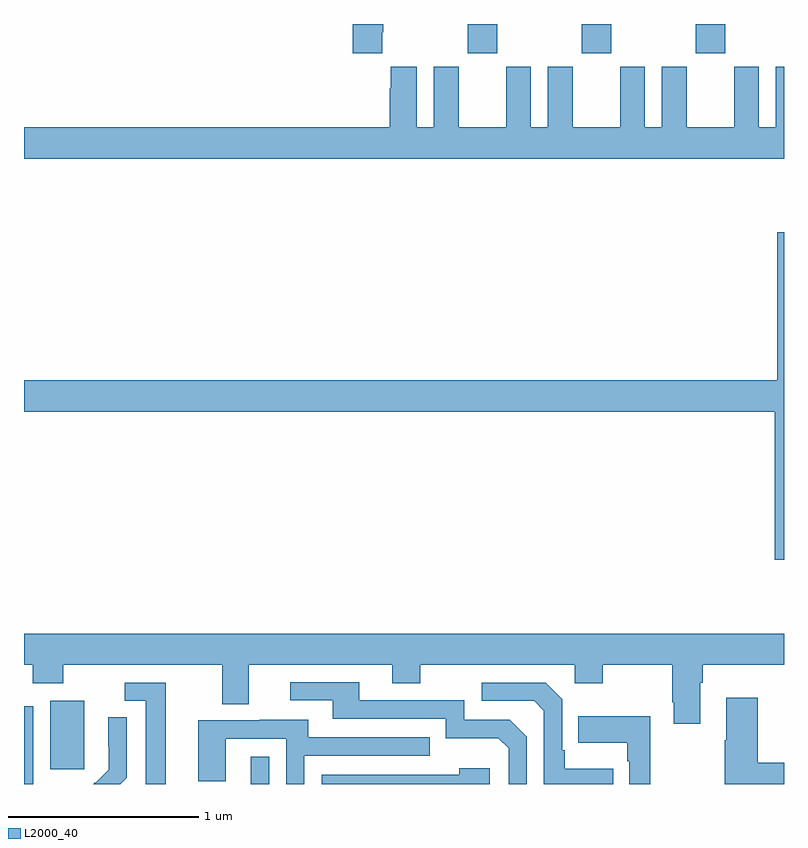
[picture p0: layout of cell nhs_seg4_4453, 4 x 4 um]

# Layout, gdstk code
import gdstk
lib = gdstk.Library(unit=1e-6, precision=1e-09)
def R(c, l, rs):  # rectangles x0, y0, x1, y1
    for r in rs: c.add(gdstk.rectangle(r[:2], r[2:], *l))
def A(c, l, x, y, w, h, nx, ny, dx, dy):  # array of equal rectangles
    R(c, l, [(x+i*dx, y+j*dy, x+i*dx+w, y+j*dy+h) for i in range(nx) for j in range(ny)])
def P(c, l, *ps):  # polygons
    for p in ps: c.add(gdstk.Polygon(p, *l))
L2000_40 = (2000, 40)

nhs_seg4_4453 = lib.new_cell('nhs_seg4_4453')
A(nhs_seg4_4453, L2000_40, 353.335, 758.745, 0.155, 0.155, 3, 1, 0.6, 0)
R(nhs_seg4_4453, L2000_40, [(351,754.9,351.048,755.31), (352.193,754.9,352.29,755.044), (351.137,754.977,351.316,755.338)])
P(nhs_seg4_4453, L2000_40, [(352.885,758.857),(352.89,758.857),(352.89,758.9),(352.73,758.9),(352.73,758.745),(352.885,758.745)],
  [(355,758.674),(354.956,758.674),(354.956,758.356),(354.868,758.356),(354.868,758.674),(354.737,758.674),(354.737,758.356),(354.487,758.356),(354.487,758.674),(354.356,758.674),(354.356,758.356),(354.268,758.356),(354.268,758.674),(354.137,758.674),(354.137,758.356),(353.887,758.356),(353.887,758.674),(353.756,758.674),(353.756,758.356),(353.668,758.356),(353.668,758.674),(353.537,758.674),(353.537,758.356),(353.287,758.356),(353.287,758.674),(353.156,758.674),(353.156,758.356),(353.068,758.356),(353.068,758.674),(352.931,758.674),(352.931,758.561),(352.925,758.561),(352.925,758.356),(351,758.356),(351,758.192),(355,758.192)],
  [(355,757.804),(354.965,757.804),(354.965,757.024),(351,757.024),(351,756.86),(354.95,756.86),(354.95,756.081),(355,756.081)],
  [(354.559,755.432),(354.572,755.432),(354.572,755.528),(355,755.528),(355,755.692),(351,755.692),(351,755.528),(351.047,755.528),(351.047,755.429),(351.207,755.429),(351.207,755.528),(352.043,755.528),(352.043,755.32),(352.183,755.32),(352.183,755.528),(352.937,755.528),(352.937,755.429),(353.085,755.429),(353.085,755.528),(353.898,755.528),(353.898,755.429),(354.045,755.429),(354.045,755.528),(354.412,755.528),(354.412,755.329),(354.419,755.329),(354.419,755.217),(354.559,755.217)],
  [(353.646,755.148),(353.556,755.238),(353.316,755.238),(353.316,755.34),(352.765,755.34),(352.765,755.436),(352.401,755.436),(352.401,755.34),(352.625,755.34),(352.625,755.244),(353.22,755.244),(353.22,755.141),(353.497,755.141),(353.55,755.088),(353.55,754.9),(353.646,754.9)],
  [(354.101,754.981),(353.845,754.981),(353.845,755.077),(353.832,755.077),(353.832,755.346),(353.745,755.433),(353.409,755.433),(353.409,755.337),(353.685,755.337),(353.736,755.286),(353.736,754.9),(354.101,754.9)],
  [(351.745,755.433),(351.531,755.433),(351.531,755.337),(351.641,755.337),(351.641,754.9),(351.745,754.9)],
  [(355,755.012),(354.863,755.012),(354.863,755.353),(354.695,755.353),(354.695,755.129),(354.688,755.129),(354.688,754.9),(355,754.9)],
  [(354.295,755.257),(353.917,755.257),(353.917,755.117),(354.174,755.117),(354.174,755.021),(354.186,755.021),(354.186,754.9),(354.295,754.9)],
  [(351.54,754.934),(351.54,755.252),(351.444,755.252),(351.444,755.098),(351.446,755.098),(351.446,754.976),(351.375,754.905),(351.372,754.908),(351.364,754.9),(351.506,754.9)],
  [(352.476,755.049),(353.135,755.049),(353.135,755.145),(352.495,755.145),(352.495,755.239),(352.241,755.239),(352.241,755.235),(351.917,755.235),(351.917,754.915),(352.062,754.915),(352.062,755.139),(352.38,755.139),(352.38,754.9),(352.476,754.9)],
  [(353.452,754.984),(353.291,754.984),(353.291,754.95),(352.566,754.95),(352.566,754.9),(353.452,754.9)])

lib.write_gds('nhs_seg4_4453.gds')
